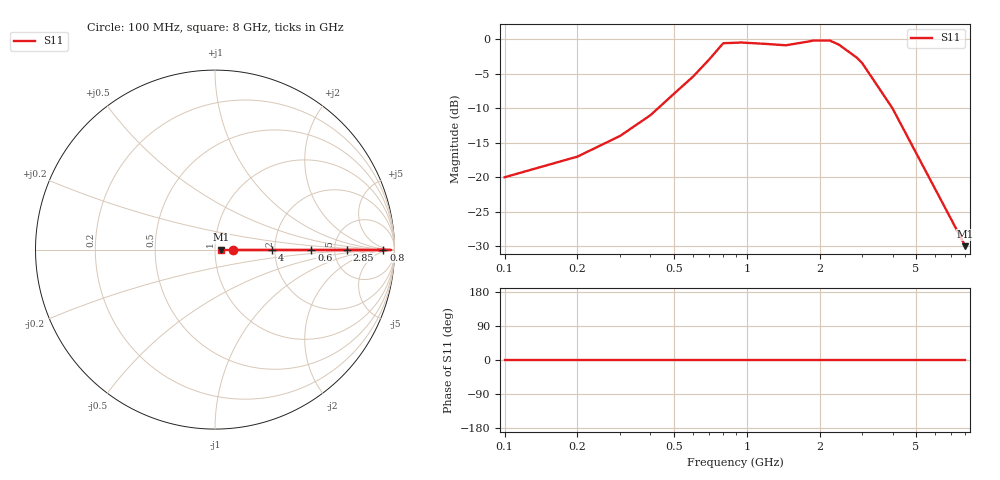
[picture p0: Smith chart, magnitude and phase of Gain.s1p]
!Gain file to be added to s2p conversion
! 1 port touchstone format
!Date: 22/9/2021
!S21
# MHz S  dB  R 50
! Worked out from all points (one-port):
!   19 points, 100 MHz to 8 GHz, reference 50 ohm
!   lowest |S11| = -30.0 dB at 8 GHz (marker M1), VSWR 1.07, Z = 53.3 + j0 ohm
!   |S11| at or under -10 dB: start of sweep to 432.3 MHz; 4 GHz to end of sweep
!   S11 on the Smith chart (normalised r, x): 100 MHz: 1.22, +0.00; 600 MHz: 3.32, +0.00; 800 MHz: 32, +0; 2.85 GHz: 6.61, +0.00; 4 GHz: 1.92, +0.00; 8 GHz: 1.07, +0.00
100  -20.00 0.0
200  -17.00 0.0
300  -14.00 0.0
400  -11.00 0.0
500  -7.90 0.0
600  -5.40 0.0
700  -2.90 0.0
800  -0.55 0.0
950  -0.45 0.0
1200  -0.65 0.0
1450  -0.85 0.0
1700  -0.45 0.0
1900  -0.15 0.0
2200  -0.15 0.0
2400  -0.75 0.0
2850  -2.65 0.0
3000  -3.45 0.0
4000  -10.00 0.0
8000  -30.00 0.0
